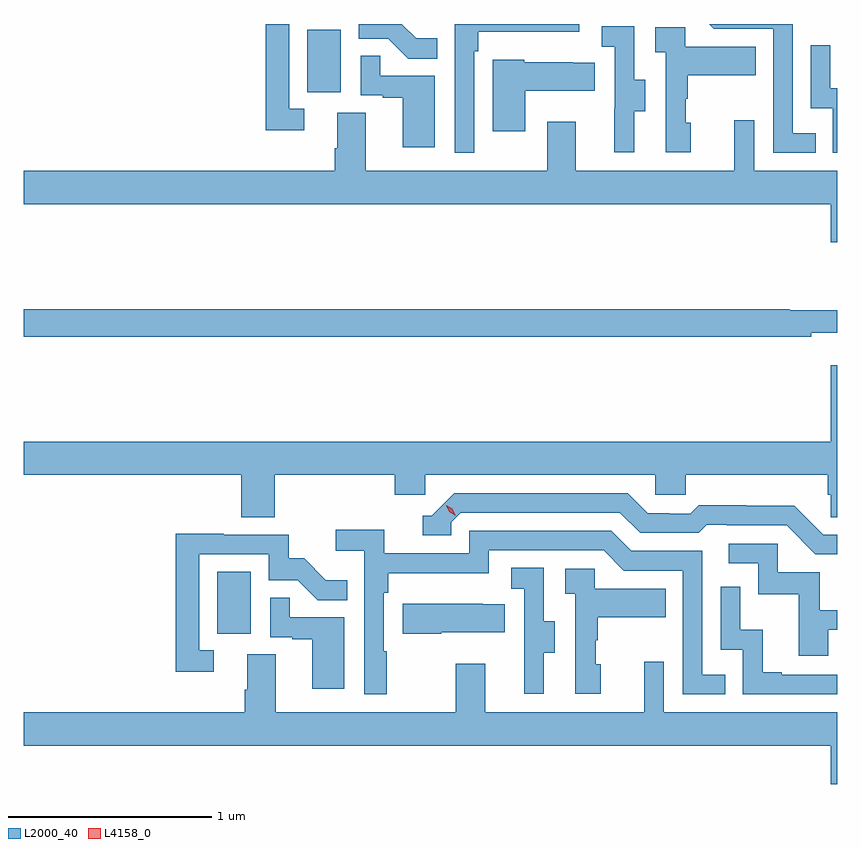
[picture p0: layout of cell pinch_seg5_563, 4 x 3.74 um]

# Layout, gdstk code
import gdstk
lib = gdstk.Library(unit=1e-6, precision=1e-09)
def R(c, l, rs):  # rectangles x0, y0, x1, y1
    for r in rs: c.add(gdstk.rectangle(r[:2], r[2:], *l))
def P(c, l, *ps):  # polygons
    for p in ps: c.add(gdstk.Polygon(p, *l))
L2000_40 = (2000, 40)
L4158_0 = (4158, 0)

pinch_seg5_563 = lib.new_cell('pinch_seg5_563')
R(pinch_seg5_563, L2000_40, [(1097.054,873.294,1097.218,873.601), (1097.498,875.958,1097.662,876.265)])
P(pinch_seg5_563, L2000_40, [(1098.137,876.223),(1098.033,876.223),(1097.962,876.294),(1097.751,876.294),(1097.751,876.222),(1097.895,876.222),(1097.993,876.124),(1098.137,876.124)],
  [(1097.482,875.877),(1097.409,875.877),(1097.409,876.294),(1097.293,876.294),(1097.293,875.772),(1097.482,875.772)],
  [(1099.997,875.757),(1099.884,875.757),(1099.884,876.294),(1099.473,876.294),(1099.497,876.27),(1099.788,876.27),(1099.788,875.661),(1099.997,875.661)],
  [(1098.318,876.161),(1098.338,876.161),(1098.338,876.257),(1098.834,876.257),(1098.834,876.294),(1098.222,876.294),(1098.222,875.661),(1098.318,875.661)],
  [(1099.105,875.866),(1099.159,875.866),(1099.159,876.021),(1099.104,876.021),(1099.104,876.284),(1098.945,876.284),(1098.945,876.181),(1099.008,876.181),(1099.008,875.877),(1099.007,875.877),(1099.007,875.664),(1099.105,875.664)],
  [(1099.384,875.808),(1099.359,875.808),(1099.359,875.927),(1099.369,875.927),(1099.369,876.041),(1099.703,876.041),(1099.703,876.181),(1099.356,876.181),(1099.356,876.279),(1099.209,876.279),(1099.209,876.155),(1099.26,876.155),(1099.26,875.664),(1099.384,875.664)],
  [(1100.103,875.978),(1100.07,875.978),(1100.07,876.19),(1099.974,876.19),(1099.974,875.88),(1100.082,875.88),(1100.082,875.661),(1100.103,875.661)],
  [(1098.124,876.039),(1097.855,876.039),(1097.855,876.137),(1097.76,876.137),(1097.76,875.943),(1097.867,875.943),(1097.867,875.931),(1097.966,875.931),(1097.966,875.688),(1098.124,875.688)],
  [(1098.568,875.966),(1098.911,875.966),(1098.911,876.103),(1098.803,876.103),(1098.803,876.106),(1098.564,876.106),(1098.564,876.118),(1098.41,876.118),(1098.41,875.766),(1098.568,875.766)],
  [(1100.103,875.572),(1099.695,875.572),(1099.695,875.821),(1099.598,875.821),(1099.598,875.572),(1098.817,875.572),(1098.817,875.812),(1098.677,875.812),(1098.677,875.572),(1097.785,875.572),(1097.785,875.858),(1097.645,875.858),(1097.645,875.684),(1097.633,875.684),(1097.633,875.572),(1096.103,875.572),(1096.103,875.408),(1100.072,875.408),(1100.072,875.22),(1100.103,875.22)],
  [(1099.976,874.775),(1100.103,874.775),(1100.103,874.885),(1099.87,874.885),(1099.87,874.892),(1096.103,874.892),(1096.103,874.756),(1099.976,874.756)],
  [(1096.103,874.076),(1097.171,874.076),(1097.171,873.868),(1097.336,873.868),(1097.336,874.076),(1097.927,874.076),(1097.927,873.978),(1098.078,873.978),(1098.078,874.076),(1099.209,874.076),(1099.209,873.978),(1099.359,873.978),(1099.359,874.076),(1100.057,874.076),(1100.057,873.978),(1100.071,873.978),(1100.071,873.868),(1100.103,873.868),(1100.103,874.615),(1100.072,874.615),(1100.072,874.24),(1096.103,874.24)],
  [(1100.103,873.783),(1100.034,873.783),(1099.892,873.925),(1099.656,873.925),(1099.656,873.928),(1099.423,873.928),(1099.381,873.885),(1099.278,873.885),(1099.278,873.888),(1099.171,873.888),(1099.072,873.987),(1098.219,873.987),(1098.108,873.876),(1098.065,873.876),(1098.065,873.78),(1098.204,873.78),(1098.204,873.843),(1098.252,873.891),(1099.035,873.891),(1099.134,873.792),(1099.423,873.792),(1099.462,873.831),(1099.561,873.831),(1099.561,873.828),(1099.854,873.828),(1099.995,873.687),(1100.103,873.687)],
  [(1097.887,873.209),(1097.874,873.209),(1097.874,873.497),(1097.894,873.497),(1097.894,873.593),(1098.39,873.593),(1098.39,873.705),(1098.954,873.705),(1099.053,873.606),(1099.344,873.606),(1099.344,872.997),(1099.553,872.997),(1099.553,873.093),(1099.44,873.093),(1099.44,873.702),(1099.09,873.702),(1098.991,873.801),(1098.294,873.801),(1098.294,873.69),(1097.876,873.69),(1097.876,873.806),(1097.637,873.806),(1097.637,873.704),(1097.778,873.704),(1097.778,872.997),(1097.887,872.997)],
  [(1097.038,873.213),(1096.965,873.213),(1096.965,873.687),(1097.307,873.687),(1097.307,873.558),(1097.451,873.558),(1097.549,873.46),(1097.693,873.46),(1097.693,873.559),(1097.589,873.559),(1097.482,873.666),(1097.406,873.666),(1097.406,873.783),(1097.087,873.783),(1097.087,873.788),(1096.849,873.788),(1096.849,873.108),(1097.038,873.108)],
  [(1100.059,873.315),(1100.103,873.315),(1100.103,873.411),(1100.017,873.411),(1100.017,873.597),(1099.812,873.597),(1099.812,873.738),(1099.569,873.738),(1099.569,873.642),(1099.716,873.642),(1099.716,873.489),(1099.915,873.489),(1099.915,873.186),(1100.059,873.186)],
  [(1098.661,873.202),(1098.715,873.202),(1098.715,873.357),(1098.66,873.357),(1098.66,873.62),(1098.501,873.62),(1098.501,873.517),(1098.564,873.517),(1098.564,873.213),(1098.563,873.213),(1098.563,873),(1098.661,873)],
  [(1098.94,873.144),(1098.915,873.144),(1098.915,873.263),(1098.925,873.263),(1098.925,873.377),(1099.259,873.377),(1099.259,873.517),(1098.912,873.517),(1098.912,873.615),(1098.765,873.615),(1098.765,873.491),(1098.816,873.491),(1098.816,873),(1098.94,873)],
  [(1100.103,873.093),(1099.831,873.093),(1099.831,873.106),(1099.736,873.106),(1099.736,873.314),(1099.626,873.314),(1099.626,873.526),(1099.53,873.526),(1099.53,873.216),(1099.638,873.216),(1099.638,872.997),(1100.103,872.997)],
  [(1097.68,873.375),(1097.411,873.375),(1097.411,873.473),(1097.316,873.473),(1097.316,873.279),(1097.423,873.279),(1097.423,873.267),(1097.522,873.267),(1097.522,873.024),(1097.68,873.024)],
  [(1098.157,873.302),(1098.467,873.302),(1098.467,873.439),(1098.359,873.439),(1098.359,873.442),(1097.966,873.442),(1097.966,873.295),(1098.157,873.295)],
  [(1100.103,872.908),(1099.251,872.908),(1099.251,873.157),(1099.154,873.157),(1099.154,872.908),(1098.373,872.908),(1098.373,873.148),(1098.226,873.148),(1098.226,872.908),(1097.341,872.908),(1097.341,873.194),(1097.201,873.194),(1097.201,873.02),(1097.189,873.02),(1097.189,872.908),(1096.103,872.908),(1096.103,872.744),(1100.072,872.744),(1100.072,872.556),(1100.103,872.556)])
P(pinch_seg5_563, L4158_0, [(1098.227,873.876),(1098.196,873.896),(1098.18,873.928),(1098.18,873.928),(1098.18,873.928),(1098.211,873.909),(1098.227,873.876),(1098.227,873.876)])

lib.write_gds('pinch_seg5_563.gds')
